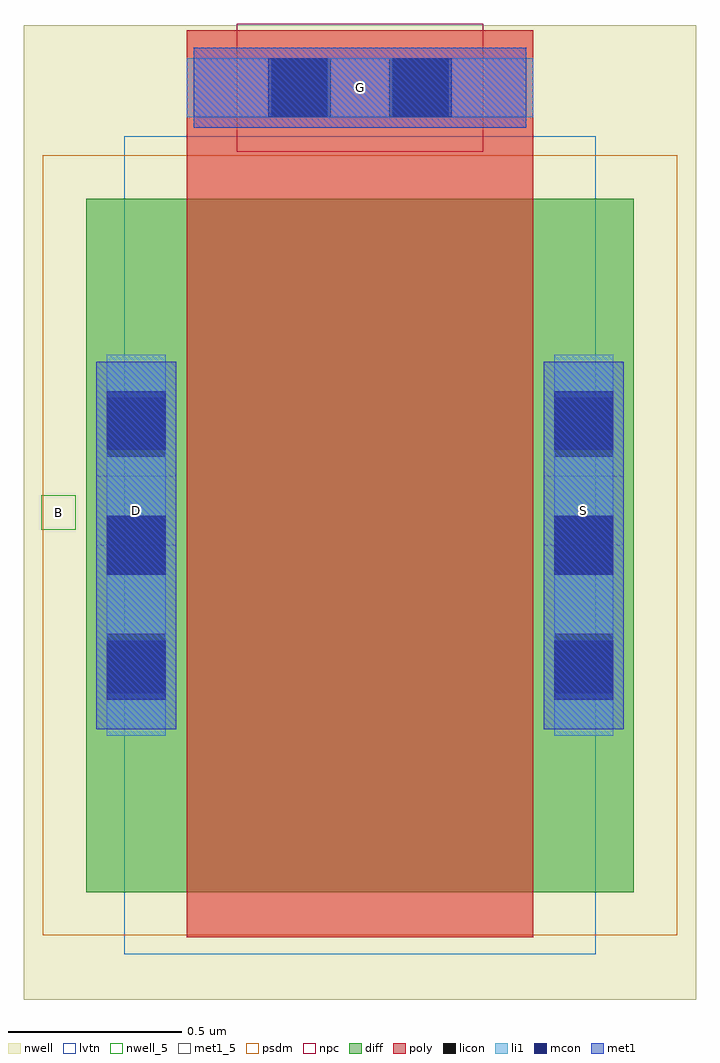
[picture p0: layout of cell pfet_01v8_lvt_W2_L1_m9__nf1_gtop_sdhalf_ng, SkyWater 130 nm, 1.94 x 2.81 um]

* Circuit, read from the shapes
.subckt pfet_01v8_lvt_W2_L1_m9__nf1_gtop_sdhalf_ng B D G S
XM1 S G D B sky130_fd_pr__pfet_01v8_lvt w=2 l=1
.ends

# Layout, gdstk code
import gdstk
lib = gdstk.Library(unit=1e-6, precision=1e-09)
def R(c, l, rs):  # rectangles x0, y0, x1, y1
    for r in rs: c.add(gdstk.rectangle(r[:2], r[2:], *l))
def A(c, l, x, y, w, h, nx, ny, dx, dy):  # array of equal rectangles
    R(c, l, [(x+i*dx, y+j*dy, x+i*dx+w, y+j*dy+h) for i in range(nx) for j in range(ny)])
nwell_5 = (64, 5)
nwell = (64, 20)
diff = (65, 20)
poly = (66, 20)
licon = (66, 44)
li1 = (67, 20)
mcon = (67, 44)
met1_5 = (68, 5)
met1 = (68, 20)
psdm = (94, 20)
npc = (95, 20)
lvtn = (125, 44)

sky130_fd_pr__pfet_01v8_ = lib.new_cell('sky130_fd_pr__pfet_01v8_lvt_77NRKJ')
R(sky130_fd_pr__pfet_01v8_, nwell, [(-0.97,-1.49,0.97,1.32)])
R(sky130_fd_pr__pfet_01v8_, diff, [(-0.79,-1.18,0.79,0.82)])
R(sky130_fd_pr__pfet_01v8_, poly, [(-0.5,-1.31,0.5,1.305)])
A(sky130_fd_pr__pfet_01v8_, licon, -0.73, -0.605, 0.17, 0.17, 1, 3, 0, 0.34)
A(sky130_fd_pr__pfet_01v8_, licon, 0.56, -0.605, 0.17, 0.17, 1, 3, 0, 0.34)
R(sky130_fd_pr__pfet_01v8_, licon, [(-0.255,1.055,-0.085,1.225), (0.085,1.055,0.255,1.225)])
R(sky130_fd_pr__pfet_01v8_, li1, [(-0.73,-0.73,-0.56,0.37), (0.56,-0.73,0.73,0.37), (-0.5,1.055,0.5,1.225)])
A(sky130_fd_pr__pfet_01v8_, mcon, -0.73, -0.625, 0.17, 0.17, 1, 3, 0, 0.36)
A(sky130_fd_pr__pfet_01v8_, mcon, 0.56, -0.625, 0.17, 0.17, 1, 3, 0, 0.36)
R(sky130_fd_pr__pfet_01v8_, mcon, [(-0.265,1.055,-0.095,1.225), (0.095,1.055,0.265,1.225)])
R(sky130_fd_pr__pfet_01v8_, met1, [(-0.76,-0.71,-0.53,0.35), (0.53,-0.71,0.76,0.35), (-0.48,1.025,0.48,1.255)])
R(sky130_fd_pr__pfet_01v8_, psdm, [(-0.915,-1.305,0.915,0.945)])
R(sky130_fd_pr__pfet_01v8_, npc, [(-0.355,0.955,0.355,1.325)])
R(sky130_fd_pr__pfet_01v8_, lvtn, [(-0.68,-1.36,0.68,1)])
sky130_fd_pr__pfet_01v8_.add(gdstk.Label('D', (-0.645,-0.18), layer=67, texttype=5))
sky130_fd_pr__pfet_01v8_.add(gdstk.Label('S', (0.645,-0.18), layer=67, texttype=5))
sky130_fd_pr__pfet_01v8_.add(gdstk.Label('G', (0,1.14), layer=67, texttype=5))

pfet_01v8_lvt_w2_l1_m9__ = lib.new_cell('pfet_01v8_lvt_W2_L1_m9__nf1_gtop_sdhalf_ng')
R(pfet_01v8_lvt_w2_l1_m9__, nwell_5, [(0.05,1.355,0.15,1.455)])
R(pfet_01v8_lvt_w2_l1_m9__, nwell, [(0.05,1.355,0.15,1.455)])
R(pfet_01v8_lvt_w2_l1_m9__, met1_5, [(0.21,1.31,0.44,1.51), (1.5,1.31,1.73,1.51), (0.49,2.515,1.45,2.745)])
R(pfet_01v8_lvt_w2_l1_m9__, met1, [(0.21,1.31,0.44,1.51), (1.5,1.31,1.73,1.51), (0.49,2.515,1.45,2.745)])
pfet_01v8_lvt_w2_l1_m9__.add(gdstk.Reference(sky130_fd_pr__pfet_01v8_, (0.97,1.49)))
pfet_01v8_lvt_w2_l1_m9__.add(gdstk.Label('D', (0.325,1.41), layer=68, texttype=5))
pfet_01v8_lvt_w2_l1_m9__.add(gdstk.Label('S', (1.615,1.41), layer=68, texttype=5))
pfet_01v8_lvt_w2_l1_m9__.add(gdstk.Label('G', (0.97,2.63), layer=68, texttype=5))
pfet_01v8_lvt_w2_l1_m9__.add(gdstk.Label('B', (0.1,1.405), layer=64, texttype=5))

lib.write_gds('pfet_01v8_lvt_W2_L1_m9__nf1_gtop_sdhalf_ng.gds')
